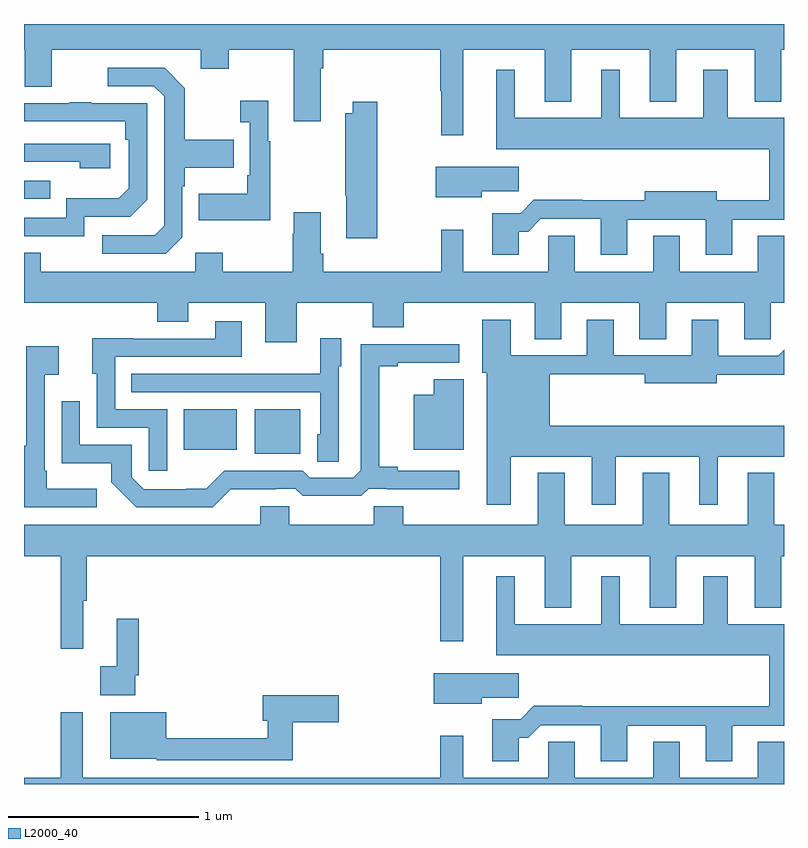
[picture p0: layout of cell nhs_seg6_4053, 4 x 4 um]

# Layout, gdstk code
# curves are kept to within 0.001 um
import gdstk
lib = gdstk.Library(unit=1e-6, precision=1e-09)
def R(c, l, rs):  # rectangles x0, y0, x1, y1
    for r in rs: c.add(gdstk.rectangle(r[:2], r[2:], *l))
def P(c, l, *ps):  # polygons
    for p in ps: c.add(gdstk.Polygon(p, *l))
L2000_40 = (2000, 40)

nhs_seg6_4053 = lib.new_cell('nhs_seg6_4053')
R(nhs_seg6_4053, L2000_40, [(352.214,917.237,352.453,917.473), (351.842,917.258,352.12,917.473), (351,918.579,351.137,918.675)])
P(nhs_seg6_4053, L2000_40, [(351,919.364),(351.005,919.364),(351.005,919.17),(351.145,919.17),(351.145,919.364),(351.929,919.364),(351.929,919.265),(352.077,919.265),(352.077,919.364),(352.421,919.364),(352.421,918.987),(352.561,918.987),(352.561,919.268),(352.574,919.268),(352.574,919.364),(353.19,919.364),(353.19,919.148),(353.197,919.148),(353.197,918.915),(353.311,918.915),(353.311,919.364),(353.741,919.364),(353.741,919.091),(353.881,919.091),(353.881,919.364),(354.293,919.364),(354.293,919.091),(354.433,919.091),(354.433,919.364),(354.845,919.364),(354.845,919.091),(354.985,919.091),(354.985,919.364),(355,919.364),(355,919.5),(351,919.5)],
  [(351.834,918.378),(351.834,918.647),(351.847,918.647),(351.847,918.743),(352.103,918.743),(352.103,918.891),(351.847,918.891),(351.847,919.163),(351.741,919.269),(351.441,919.269),(351.441,919.173),(351.684,919.173),(351.738,919.119),(351.738,918.438),(351.687,918.387),(351.411,918.387),(351.411,918.291),(351.747,918.291)],
  [(353.605,918.407),(353.654,918.407),(353.721,918.474),(354.035,918.474),(354.035,918.285),(354.175,918.285),(354.175,918.471),(354.587,918.47),(354.587,918.285),(354.727,918.285),(354.727,918.471),(355,918.471),(355,919.006),(354.703,919.006),(354.703,919.258),(354.575,919.258),(354.575,919.006),(354.136,919.006),(354.136,919.258),(354.038,919.258),(354.038,919.006),(353.584,919.006),(353.584,919.258),(353.486,919.258),(353.486,918.842),(354.923,918.842),(354.923,918.572),(354.646,918.572),(354.646,918.619),(354.266,918.619),(354.266,918.572),(353.939,918.572),(353.939,918.575),(353.684,918.575),(353.614,918.505),(353.465,918.505),(353.465,918.285),(353.605,918.285)],
  [(352.297,918.883),(352.285,918.883),(352.285,919.096),(352.137,919.096),(352.137,918.983),(352.188,918.983),(352.188,918.703),(352.176,918.703),(352.176,918.607),(351.919,918.607),(351.919,918.467),(352.297,918.467)],
  [(352.86,919.09),(352.73,919.09),(352.73,919.03),(352.69,919.03),(352.69,918.595),(352.697,918.595),(352.697,918.372),(352.86,918.372)],
  [(351.318,918.486),(351.558,918.486),(351.648,918.576),(351.648,919.083),(351.353,919.083),(351.353,919.088),(351.241,919.088),(351.241,919.083),(351,919.083),(351,918.987),(351.532,918.987),(351.532,918.89),(351.552,918.89),(351.552,918.636),(351.499,918.583),(351.222,918.583),(351.222,918.48),(351,918.48),(351,918.384),(351.318,918.384)],
  [(351.454,918.87),(351,918.87),(351,918.774),(351.293,918.774),(351.293,918.74),(351.454,918.74)],
  [(353.41,918.619),(353.605,918.619),(353.605,918.748),(353.166,918.748),(353.166,918.587),(353.41,918.587)],
  [(352.435,918.032),(352.835,918.032),(352.835,917.904),(352.999,917.904),(352.999,918.032),(353.687,918.032),(353.687,917.842),(353.827,917.842),(353.827,918.032),(354.239,918.032),(354.239,917.842),(354.379,917.842),(354.379,918.032),(354.791,918.032),(354.791,917.842),(354.93,917.842),(354.93,918.032),(355,918.032),(355,918.386),(354.863,918.386),(354.863,918.196),(354.451,918.196),(354.451,918.385),(354.311,918.385),(354.311,918.196),(353.899,918.196),(353.899,918.386),(353.76,918.386),(353.76,918.196),(353.311,918.196),(353.311,918.418),(353.197,918.418),(353.197,918.196),(352.574,918.196),(352.574,918.292),(352.561,918.292),(352.561,918.508),(352.421,918.508),(352.421,918.395),(352.414,918.395),(352.414,918.196),(352.047,918.196),(352.047,918.295),(351.9,918.295),(351.9,918.196),(351.087,918.196),(351.087,918.295),(351,918.295),(351,918.032),(351.701,918.032),(351.701,917.933),(351.865,917.933),(351.865,918.032),(352.271,918.032),(352.271,917.826),(352.435,917.826)],
  [(353.563,917.222),(353.987,917.222),(353.987,916.971),(354.115,916.971),(354.115,917.222),(354.554,917.222),(354.554,916.971),(354.652,916.971),(354.652,917.222),(355,917.222),(355,917.386),(353.767,917.386),(353.767,917.656),(354.266,917.656),(354.266,917.609),(354.646,917.609),(354.646,917.654),(355,917.654),(355,917.785),(354.969,917.754),(354.655,917.754),(354.655,917.944),(354.515,917.944),(354.515,917.757),(354.103,917.757),(354.103,917.944),(353.963,917.944),(353.963,917.757),(353.563,917.757),(353.563,917.944),(353.411,917.944),(353.411,917.664),(353.435,917.664),(353.435,916.971),(353.563,916.971)],
  [(351.753,917.472),(351.48,917.472),(351.48,917.748),(352.147,917.748),(352.147,917.935),(352.007,917.935),(352.007,917.844),(351.577,917.844),(351.577,917.846),(351.359,917.846),(351.359,917.658),(351.384,917.658),(351.384,917.376),(351.657,917.376),(351.657,917.148),(351.753,917.148)],
  [(352.656,917.7),(352.669,917.7),(352.669,917.845),(352.56,917.845),(352.56,917.659),(352.243,917.659),(352.243,917.658),(351.565,917.658),(351.565,917.562),(352.56,917.562),(352.56,917.34),(352.544,917.34),(352.544,917.197),(352.656,917.197)],
  [(352.088,917.051),(352.328,917.051),(352.328,917.055),(352.428,917.055),(352.468,917.016),(352.775,917.016),(352.815,917.055),(352.909,917.055),(352.909,917.051),(353.29,917.051),(353.29,917.148),(352.966,917.148),(352.966,917.171),(352.871,917.171),(352.871,917.698),(352.966,917.698),(352.966,917.718),(353.29,917.718),(353.29,917.814),(352.773,917.814),(352.773,917.151),(352.734,917.112),(352.503,917.112),(352.467,917.148),(352.053,917.148),(351.959,917.054),(351.854,917.054),(351.854,917.052),(351.63,917.052),(351.567,917.115),(351.567,917.286),(351.294,917.286),(351.294,917.515),(351.198,917.515),(351.198,917.189),(351.46,917.189),(351.46,917.087),(351.59,916.956),(351.993,916.956)],
  [(351.382,917.053),(351.121,917.053),(351.121,917.149),(351.108,917.149),(351.108,917.654),(351.184,917.654),(351.184,917.803),(351.011,917.803),(351.011,917.281),(351,917.281),(351,916.956),(351.382,916.956)],
  [(353.314,917.629),(353.156,917.629),(353.156,917.548),(353.051,917.548),(353.051,917.258),(353.314,917.258)],
  [(351.311,916.464),(351.329,916.464),(351.329,916.7),(353.19,916.7),(353.19,916.251),(353.311,916.251),(353.311,916.7),(353.741,916.7),(353.741,916.427),(353.881,916.427),(353.881,916.7),(354.293,916.7),(354.293,916.427),(354.433,916.427),(354.433,916.7),(354.845,916.7),(354.845,916.427),(354.985,916.427),(354.985,916.7),(355,916.7),(355,916.864),(354.949,916.864),(354.949,917.137),(354.809,917.137),(354.809,916.864),(354.397,916.864),(354.397,917.137),(354.257,917.137),(354.257,916.864),(353.845,916.864),(353.845,917.137),(353.705,917.137),(353.705,916.864),(352.995,916.864),(352.995,916.962),(352.84,916.962),(352.84,916.864),(352.395,916.864),(352.395,916.962),(352.244,916.962),(352.244,916.864),(351,916.864),(351,916.7),(351.193,916.7),(351.193,916.212),(351.311,916.212)],
  [(353.605,915.743),(353.654,915.743),(353.721,915.81),(354.035,915.81),(354.035,915.621),(354.175,915.621),(354.175,915.807),(354.587,915.807),(354.587,915.621),(354.727,915.621),(354.727,915.807),(355,915.807),(355,916.342),(354.703,916.342),(354.703,916.594),(354.575,916.594),(354.575,916.342),(354.136,916.342),(354.136,916.594),(354.038,916.594),(354.038,916.342),(353.584,916.342),(353.584,916.594),(353.486,916.594),(353.486,916.178),(354.923,916.178),(354.923,915.908),(353.939,915.908),(353.939,915.911),(353.684,915.911),(353.614,915.841),(353.465,915.841),(353.465,915.621),(353.605,915.621)],
  [(351.585,916.072),(351.605,916.072),(351.605,916.369),(351.488,916.369),(351.488,916.121),(351.402,916.121),(351.402,915.968),(351.585,915.968)],
  [(353.41,915.955),(353.605,915.955),(353.605,916.084),(353.156,916.084),(353.156,915.923),(353.41,915.923)],
  [(352.415,915.826),(352.657,915.826),(352.657,915.968),(352.256,915.968),(352.256,915.833),(352.283,915.833),(352.283,915.74),(351.748,915.74),(351.748,915.877),(351.455,915.877),(351.455,915.632),(351.699,915.632),(351.699,915.624),(352.415,915.624)],
  [(355,915.722),(354.863,915.722),(354.863,915.532),(354.451,915.532),(354.451,915.722),(354.311,915.722),(354.311,915.532),(353.899,915.532),(353.899,915.722),(353.76,915.722),(353.76,915.532),(353.311,915.532),(353.311,915.754),(353.19,915.754),(353.19,915.532),(351.31,915.532),(351.31,915.877),(351.193,915.877),(351.193,915.532),(351,915.532),(351,915.5),(355,915.5)])

lib.write_gds('nhs_seg6_4053.gds')
